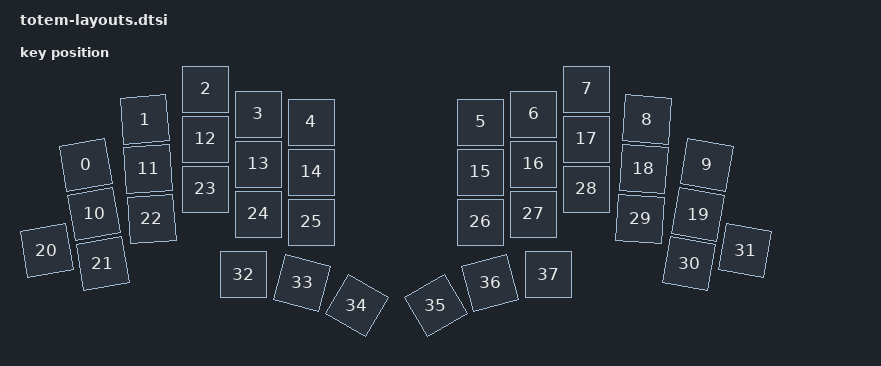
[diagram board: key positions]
#include <physical_layouts.dtsi>

/ {
    totem_layout: totem_layout {
        compatible = "zmk,physical-layout";
        display-name = "TOTEM";
        transform = <&default_transform>;
        keys
        /* row 1 */
        = <&key_physical_attrs 100 100   78  152 (-1000)  128  202>
        , <&key_physical_attrs 100 100  196   61  (-400)  246  111>
        , <&key_physical_attrs 100 100  318    0      0    0    0>
        , <&key_physical_attrs 100 100  423   50      0    0    0>
        , <&key_physical_attrs 100 100  529   66      0    0    0>
        , <&key_physical_attrs 100 100  868   66      0    0    0>
        , <&key_physical_attrs 100 100  974   50      0    0    0>
        , <&key_physical_attrs 100 100 1080    0      0    0    0>
        , <&key_physical_attrs 100 100 1201   61    400 1251  111>
        , <&key_physical_attrs 100 100 1320  152   1000 1370  202>
        /* row 2 */
        , <&key_physical_attrs 100 100   95  250 (-1000)  145  300>
        , <&key_physical_attrs 100 100  203  160  (-400)  253  210>
        , <&key_physical_attrs 100 100  318  100      0    0    0>
        , <&key_physical_attrs 100 100  423  150      0    0    0>
        , <&key_physical_attrs 100 100  529  166      0    0    0>
        , <&key_physical_attrs 100 100  868  166      0    0    0>
        , <&key_physical_attrs 100 100  974  150      0    0    0>
        , <&key_physical_attrs 100 100 1080  100      0    0    0>
        , <&key_physical_attrs 100 100 1194  160    400 1244  210>
        , <&key_physical_attrs 100 100 1303  251   1000 1353  301>
        /* row 3: extra + 5 + 5 + extra */
        , <&key_physical_attrs 100 100    0  323 (-1000)   50  373>
        , <&key_physical_attrs 100 100  112  349 (-1000)  162  399>
        , <&key_physical_attrs 100 100  210  260  (-400)  260  310>
        , <&key_physical_attrs 100 100  318  200      0    0    0>
        , <&key_physical_attrs 100 100  423  250      0    0    0>
        , <&key_physical_attrs 100 100  529  266      0    0    0>
        , <&key_physical_attrs 100 100  868  266      0    0    0>
        , <&key_physical_attrs 100 100  974  250      0    0    0>
        , <&key_physical_attrs 100 100 1080  200      0    0    0>
        , <&key_physical_attrs 100 100 1187  260    400 1237  310>
        , <&key_physical_attrs 100 100 1285  349   1000 1335  399>
        , <&key_physical_attrs 100 100 1397  323   1000 1447  373>
        /* 6 thumbs */
        , <&key_physical_attrs 100 100  394  371      0    0    0>
        , <&key_physical_attrs 100 100  511  388   1500  561  438>
        , <&key_physical_attrs 100 100  620  433   3000  670  483>
        , <&key_physical_attrs 100 100  778  433 (-3000)  828  483>
        , <&key_physical_attrs 100 100  887  388 (-1500)  937  438>
        , <&key_physical_attrs 100 100 1004  371      0    0    0>
        ;
    };
};
